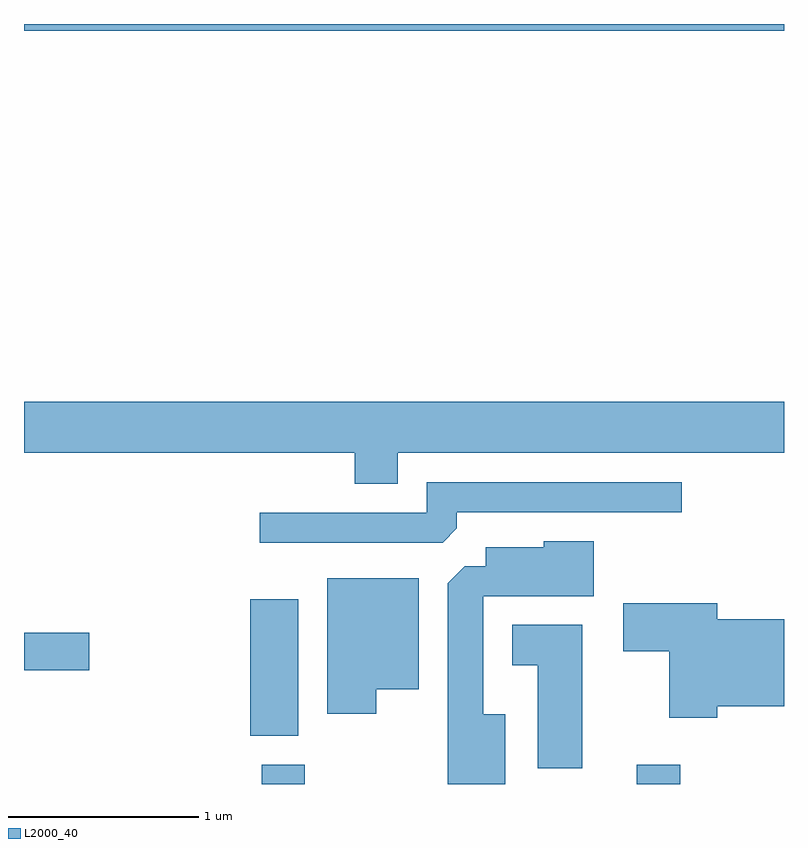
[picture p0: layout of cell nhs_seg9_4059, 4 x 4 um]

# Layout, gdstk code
import gdstk
lib = gdstk.Library(unit=1e-6, precision=1e-09)
def R(c, l, rs):  # rectangles x0, y0, x1, y1
    for r in rs: c.add(gdstk.rectangle(r[:2], r[2:], *l))
def P(c, l, *ps):  # polygons
    for p in ps: c.add(gdstk.Polygon(p, *l))
L2000_40 = (2000, 40)

nhs_seg9_4059 = lib.new_cell('nhs_seg9_4059')
R(nhs_seg9_4059, L2000_40, [(304.861,2074.432,305.089,2074.534), (306.836,2074.432,307.064,2074.534), (304.801,2074.686,305.054,2075.404), (303.611,2075.031,303.954,2075.229), (303.611,2078.396,307.611,2078.432)])
P(nhs_seg9_4059, L2000_40, [(305.579,2076.176),(307.611,2076.176),(307.611,2076.444),(303.611,2076.444),(303.611,2076.176),(305.351,2076.176),(305.351,2076.011),(305.579,2076.011)],
  [(305.889,2075.777),(305.889,2075.861),(307.073,2075.861),(307.073,2076.019),(305.731,2076.019),(305.731,2075.859),(304.853,2075.859),(304.853,2075.701),(305.814,2075.701)],
  [(306.144,2074.799),(306.029,2074.799),(306.029,2075.421),(306.609,2075.421),(306.609,2075.709),(306.346,2075.709),(306.346,2075.679),(306.041,2075.679),(306.041,2075.579),(305.932,2075.579),(305.841,2075.489),(305.841,2074.432),(306.144,2074.432)],
  [(305.464,2074.931),(305.689,2074.931),(305.689,2075.514),(305.206,2075.514),(305.206,2074.801),(305.464,2074.801)],
  [(307.259,2074.841),(307.611,2074.841),(307.611,2075.299),(307.259,2075.299),(307.259,2075.384),(306.766,2075.384),(306.766,2075.131),(307.006,2075.131),(307.006,2074.781),(307.259,2074.781)],
  [(306.549,2075.269),(306.181,2075.269),(306.181,2075.056),(306.316,2075.056),(306.316,2074.516),(306.549,2074.516)])

lib.write_gds('nhs_seg9_4059.gds')
